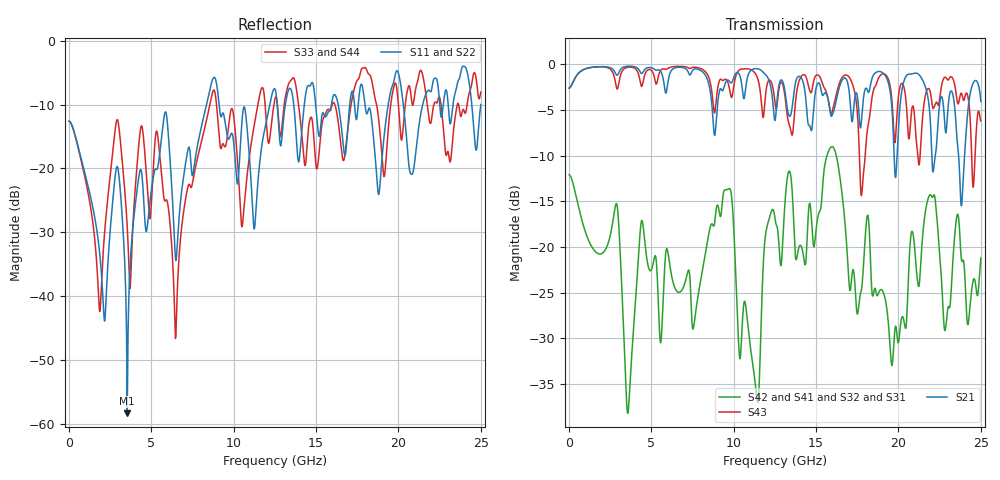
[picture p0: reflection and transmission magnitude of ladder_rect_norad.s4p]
! R_s4_rect_2v: kisi's ladders coupled through the finite cavity (rect) (Finite board 24 × 16 mm, two vias L1 → L4 9.9 mm apart sharing the L2/L3 cavity, no return via)
# Hz S RI R 50
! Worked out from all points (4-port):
!   1000 points, 25 MHz to 25 GHz, reference 50 ohm
!   strongest paths, dB at 25 MHz, 6.275 GHz, 12.53 GHz, 18.77 GHz, 25 GHz:
!     S21: -2.6, -0.6, -6.1, -0.8, -4.1
!     S43: -2.6, -0.3, -4.4, -1.6, -6.2
!     S42: -12.1, -23.4, -17.0, -25.1, -21.2
!     S41: -12.1, -23.4, -17.0, -25.1, -21.2
!     S32: -12.1, -23.4, -17.0, -25.1, -21.2
!     S31: -12.1, -23.5, -17.0, -25.2, -21.2
!   lowest |S11| = -58.4 dB at 3.55 GHz (marker M1), VSWR 1.00, Z = 50.1 - j0.0439 ohm
!   |S11| at or under -10 dB: start of sweep to 8.353 GHz; 9.124 GHz to 12.19 GHz (3.07 GHz wide, 28.8 % of centre); 17.97 GHz to 19.38 GHz (1.411 GHz wide, 7.56 % of centre) (the widest 3 of 12)
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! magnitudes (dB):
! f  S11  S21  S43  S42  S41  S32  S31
! 25 MHz  -12.6  -2.6  -2.6  -12.1  -12.1  -12.1  -12.1
! 3.55 GHz  -58.4  -0.2  -0.4  -37.9  -37.9  -37.9  -37.9
! 5.825 GHz  -11.4  -2.7  -0.5  -22.1  -22.1  -22.1  -22.1
! 6.5 GHz  -34.4  -0.4  -0.3  -24.7  -24.7  -24.7  -24.7
! 8.8 GHz  -5.7  -7.2  -5.0  -17.7  -17.7  -17.7  -17.7
! 11.25 GHz  -29.5  -0.5  -0.9  -34.0  -34.0  -34.0  -34.0
! 25 GHz  -10.0  -4.1  -6.2  -21.2  -21.2  -21.2  -21.2
